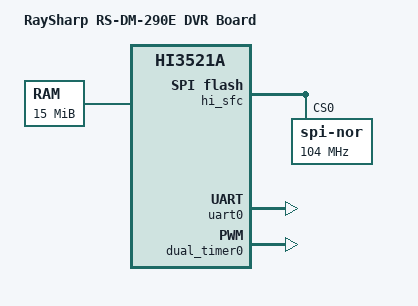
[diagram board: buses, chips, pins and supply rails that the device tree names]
/*
 * Copyright (C) 2017 Marty Plummer <hanetzer@startmail.com>
 *
 * This program is free software: you can redistribute it and/or modify
 * it under the terms of the GNU General Public License as published by
 * the Free Software Foundation, either version 3 of the License, or
 * (at your option) any later version.
 *
 * This program is distributed in the hope that it will be useful,
 * but WITHOUT ANY WARRANTY; without even the implied warranty of
 * MERCHANTABILITY or FITNESS FOR A PARTICULAR PURPOSE.  See the
 * GNU General Public License for more details.
 *
 * You should have received a copy of the GNU General Public License
 * along with this program.  If not, see <http://www.gnu.org/licenses/>.
 */

/dts-v1/;
#include "hi3521a.dtsi"

/ {
	model = "RaySharp RS-DM-290E DVR Board";
	compatible = "hisilicon,hi3521a";

	aliases {
		serial0 = &uart0;
		serial1 = &uart1;
		serial2 = &uart2;
	};

	memory {
		device_type = "memory";
		reg = <0x80000000 0xf00000>;
	};
};

&hi_sfc {
	status = "okay";
	spi-nor@0 {
		compatible = "jedec,spi-nor";
		reg = <0>;
		spi-max-frequency = <104000000>;
	};
};

&uart0 {
	status = "okay";
};

&dual_timer0 {
	status = "okay";
};
